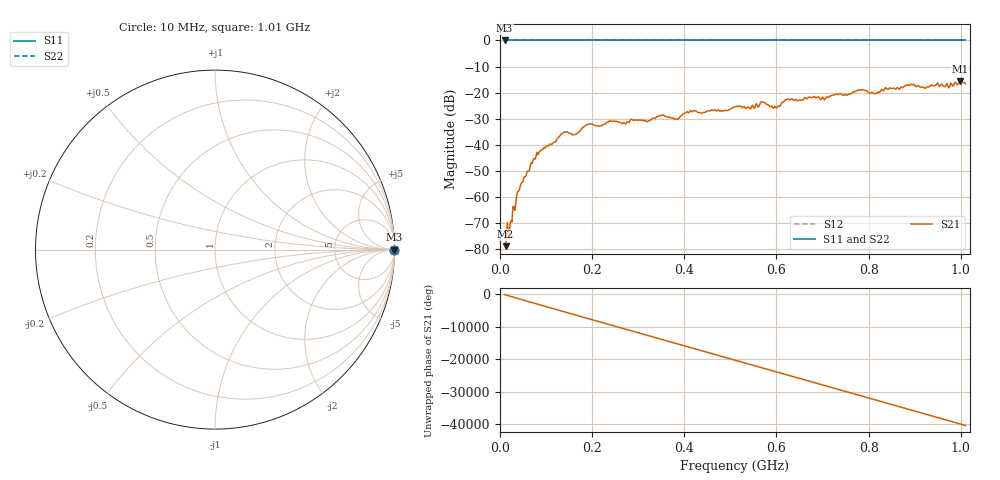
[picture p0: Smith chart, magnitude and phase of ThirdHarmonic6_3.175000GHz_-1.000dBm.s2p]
! 8/17/2025 9:34:23 AM
! C:\ANRITSUVNA\TEMP\TEMP.S2P
! CHANNEL.1
! TR.MEASUREMENT
! RAW.DATA
! RF.CORRECTION.OFF
! AVERAGING.OFF
! IF.BANDWIDTH: 5KHZ
! SWEEPTYPE:  FREQ.SWEEP(Linear)
! Reference Plane Port Info
! PORT:  PORT1  PORT2
! DISTANCE:  0  m  0  m
! TIME:  0  s  0  s
! PHASE.OFFSET:  0  deg.  0  deg.
! LOSS:  0  dB  0  dB
! REF.LOSS:  0  dB  0  dB
! REF.FREQ:  0  Hz  0  Hz
! Power Info
! POWER:  -20  dBm  -20  dBm
! EFF.POWER:  -20  dBm  -20  dBm
! SOURCE.ATTEN:  0  dB  0  dB
! TEST.ATTEN:  0  dB  0  dB
# GHZ S RI R 50.0
! FREQ.GHZ  S11RE  S11IM  S21RE  S21IM  S12RE  S12IM  S22RE  S22IM
!; PortSelection: Port_12
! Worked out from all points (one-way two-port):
!   501 points, 10 MHz to 1.01 GHz, reference 50 ohm
!   highest |S21| = -15.61 dB at 998 MHz (marker M1); lowest = -79.0 dB at 12 MHz (marker M2)
!   lowest |S11| = 0.0 dB at 10 MHz (marker M3)
!   |S11| at or under -10 dB: nowhere
!   |S22| runs from 0.0 to 0.0 dB; largest |S21 - S12| = 1.1
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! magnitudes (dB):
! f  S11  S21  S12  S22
! 10 MHz  0.0  -78.2  0.0  0.0
! 12 MHz  0.0  -79.0  0.0  0.0
! 22 MHz  0.0  -70.1  0.0  0.0
! 26 MHz  0.0  -69.7  0.0  0.0
! 42 MHz  0.0  -57.3  0.0  0.0
! 76 MHz  0.0  -45.5  0.0  0.0
! 136 MHz  0.0  -35.6  0.0  0.0
! 162 MHz  0.0  -36.1  0.0  0.0
! 178 MHz  0.0  -33.6  0.0  0.0
! 194 MHz  0.0  -32.1  0.0  0.0
! 344 MHz  0.0  -29.2  0.0  0.0
! 384 MHz  0.0  -30.1  0.0  0.0
! 410 MHz  0.0  -27.7  0.0  0.0
! 510 MHz  0.0  -25.5  0.0  0.0
! 548 MHz  0.0  -24.9  0.0  0.0
! 570 MHz  0.0  -23.7  0.0  0.0
! 596 MHz  0.0  -25.4  0.0  0.0
! 622 MHz  0.0  -22.6  0.0  0.0
! 678 MHz  0.0  -21.8  0.0  0.0
! 844 MHz  0.0  -18.4  0.0  0.0
! 998 MHz  0.0  -15.6  0.0  0.0
! 1.01 GHz  0.0  -16.6  0.0  0.0
